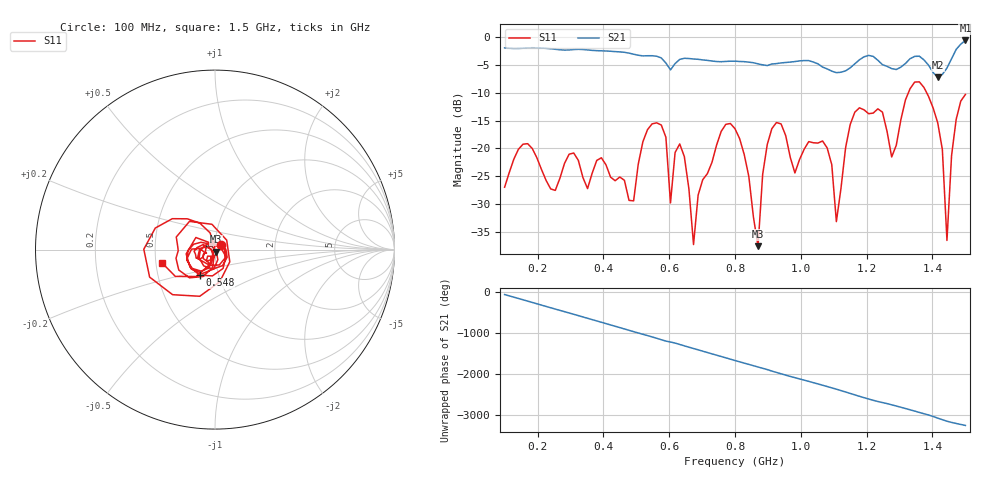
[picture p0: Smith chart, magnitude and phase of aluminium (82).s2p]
! NanoVNA-App
! Date: 2025-09-26 09:58:42
! Start: 100MHz Stop: 1,5GHz Points: 101
! S-Parameter data: F S11 S21 S12 S22
# Hz S RI R 50
!  Frequency  S11_Real  S11_Imag  S21_Real  S21_Imag  S12_Real  S12_Imag  S22_Real  S22_Imag
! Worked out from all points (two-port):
!   101 points, 100 MHz to 1.5 GHz, reference 50 ohm
!   highest |S21| = -0.58 dB at 1.5 GHz (marker M1); lowest = -7.2 dB at 1.416 GHz (marker M2)
!   |S21| within 3 dB of the highest: start of sweep to 569.5 MHz; 1.191 GHz to 1.223 GHz (32.1 MHz wide, 2.66 % of centre) (the widest 2 of 4)
!   lowest |S11| = -37.6 dB at 870 MHz (marker M3), VSWR 1.03, Z = 50.7 - j1.13 ohm
!   |S11| at or under -10 dB: start of sweep to 1.327 GHz; 1.382 GHz to end of sweep
!   S12 and S22 are empty: the file has one direction only
!   S11 on the Smith chart (normalised r, x): 100 MHz: 1.07, +0.06; 548 MHz: 0.81, -0.24; 1.5 GHz: 0.54, -0.09
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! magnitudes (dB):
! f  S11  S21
! 100 MHz  -27.0  -1.9
! 156 MHz  -19.2  -2.0
! 338 MHz  -25.2  -2.2
! 492 MHz  -29.4  -3.1
! 548 MHz  -15.6  -3.3
! 576 MHz  -15.8  -3.7
! 604 MHz  -29.8  -5.9
! 646 MHz  -21.4  -3.8
! 674 MHz  -37.3  -3.9
! 800 MHz  -16.5  -4.3
! 870 MHz  -37.6  -4.8
! 912 MHz  -16.4  -4.8
! 1.038 GHz  -19.0  -4.5
! 1.08 GHz  -19.9  -5.7
! 1.108 GHz  -33.2  -6.4
! 1.164 GHz  -13.5  -4.8
! 1.276 GHz  -21.5  -5.6
! 1.346 GHz  -8.1  -3.4
! 1.416 GHz  -15.4  -7.2
! 1.444 GHz  -36.6  -5.5
! 1.458 GHz  -21.3  -3.9
! 1.5 GHz  -10.3  -0.6
